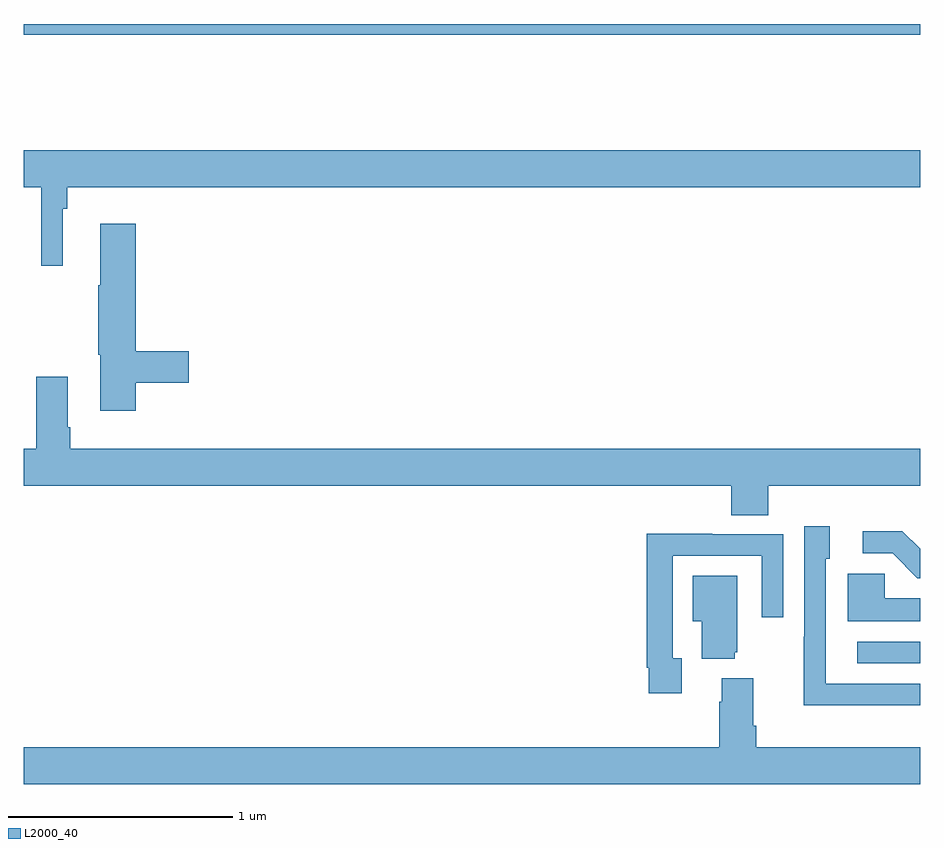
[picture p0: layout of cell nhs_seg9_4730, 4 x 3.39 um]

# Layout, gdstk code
import gdstk
lib = gdstk.Library(unit=1e-6, precision=1e-09)
def R(c, l, rs):  # rectangles x0, y0, x1, y1
    for r in rs: c.add(gdstk.rectangle(r[:2], r[2:], *l))
def P(c, l, *ps):  # polygons
    for p in ps: c.add(gdstk.Polygon(p, *l))
L2000_40 = (2000, 40)

nhs_seg9_4730 = lib.new_cell('nhs_seg9_4730')
R(nhs_seg9_4730, L2000_40, [(388.719,1175.646,389,1175.742), (385,1178.452,389,1178.5)])
P(nhs_seg9_4730, L2000_40, [(385.174,1177.676),(385.193,1177.676),(385.193,1177.772),(389,1177.772),(389,1177.936),(385,1177.936),(385,1177.772),(385.077,1177.772),(385.077,1177.422),(385.174,1177.422)],
  [(385.499,1176.898),(385.735,1176.898),(385.735,1177.04),(385.499,1177.04),(385.499,1177.609),(385.34,1177.609),(385.34,1177.334),(385.333,1177.334),(385.333,1177.023),(385.34,1177.023),(385.34,1176.774),(385.499,1176.774)],
  [(388.322,1176.44),(389,1176.44),(389,1176.604),(385.208,1176.604),(385.208,1176.7),(385.195,1176.7),(385.195,1176.925),(385.055,1176.925),(385.055,1176.604),(385,1176.604),(385,1176.44),(388.157,1176.44),(388.157,1176.307),(388.322,1176.307)],
  [(388.943,1175.46),(389,1175.46),(389,1175.556),(388.579,1175.556),(388.579,1175.783),(388.578,1175.783),(388.578,1176.114),(388.597,1176.114),(388.597,1176.259),(388.482,1176.259),(388.482,1175.765),(388.48,1175.765),(388.48,1175.459),(388.943,1175.459)],
  [(389,1176.157),(388.921,1176.236),(388.743,1176.236),(388.743,1176.138),(388.877,1176.138),(388.988,1176.027),(389,1176.027)],
  [(387.937,1175.67),(387.897,1175.67),(387.897,1176.126),(388.293,1176.126),(388.293,1175.853),(388.389,1175.853),(388.389,1176.222),(388.073,1176.222),(388.073,1176.224),(387.781,1176.224),(387.781,1175.626),(387.789,1175.626),(387.789,1175.514),(387.937,1175.514)],
  [(389,1175.938),(388.842,1175.938),(388.842,1176.046),(388.676,1176.046),(388.676,1175.834),(389,1175.834)],
  [(388.172,1175.697),(388.183,1175.697),(388.183,1176.037),(387.986,1176.037),(387.986,1175.834),(388.025,1175.834),(388.025,1175.666),(388.172,1175.666)],
  [(389,1175.272),(388.268,1175.272),(388.268,1175.368),(388.255,1175.368),(388.255,1175.581),(388.115,1175.581),(388.115,1175.474),(388.103,1175.474),(388.103,1175.272),(385,1175.272),(385,1175.108),(389,1175.108)])

lib.write_gds('nhs_seg9_4730.gds')
